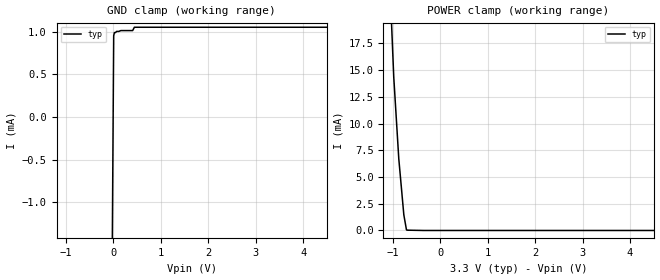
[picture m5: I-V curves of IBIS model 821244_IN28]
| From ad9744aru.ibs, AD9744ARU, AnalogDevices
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| COPYRIGHT(C) MENTOR GRAPHICS CORPORATION 2002 ALL
| RIGHTS RESERVED. THIS WORK CONTAINS PROPRIETARY
| INFORMATION WHICH IS THE PROPERTY OF MENTOR GRAPHICS
| CORPORATION OR ITS LICENSORS. USE OF THESE MATERIALS
| IS SUBJECT TO THE TERMS BELOW.
| USE: MENTOR GRAPHICS HAS LICENSED IBIS MODELS TO
| SPECIFIC INTEGRATED CIRCUIT SUPPLIERS ("IC VENDORS")
| FOR USE AND DISTRIBUTION AS FOLLOWS: EACH IC VENDOR
| MAY USE IBIS MODELS, AND DISTRIBUTE THEM TO IC VENDOR'S
| CUSTOMERS TO USE, SOLELY FOR DEVELOPING PRINTED
| CIRCUIT BOARD DESIGNS. NO OTHER USE OR DISTRIBUTION
| OF THESE MATERIALS IS PERMITTED.
| Model Application Version 1.89 2/18/99.
[Model] 821244_IN28
Model_type Input
Vinl = 900.0mV
Vinh = 2.100V
C_comp 5.000pF NA NA
| variable typ   min   max
[Voltage Range] 3.300V NA NA
[GND Clamp Reference] 0.000V NA NA
[POWER Clamp Reference] 3.300V NA NA
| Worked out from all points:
|   POWER clamp passes 1 mA (typ) near -0.75 V on its own axis
[GND Clamp]
-3.3V     -274.6mA   NA         NA
5.276mV   955.1uA    NA         NA
20.41mV   992.1uA    NA         NA
43.23mV   992.1uA    NA         NA
66.04mV   1.006mA    NA         NA
111.7mV   1.006mA    NA         NA
157.3mV   1.016mA    NA         NA
405.4mV   1.016mA    NA         NA
440.9mV   1.055mA    NA         NA
6.6V      1.055mA    NA         NA
[POWER Clamp]
-3.3V     353.9mA    NA         NA
-1.073V   24.16mA    NA         NA
-982.2mV  14.38mA    NA         NA
-875.8mV  6.713mA    NA         NA
-769.3mV  1.463mA    NA         NA
-713.6mV  56.55uA    NA         NA
-698.3mV  28.9uA     NA         NA
-349.1mV  0A         NA         NA
6.6V      0A         NA         NA
